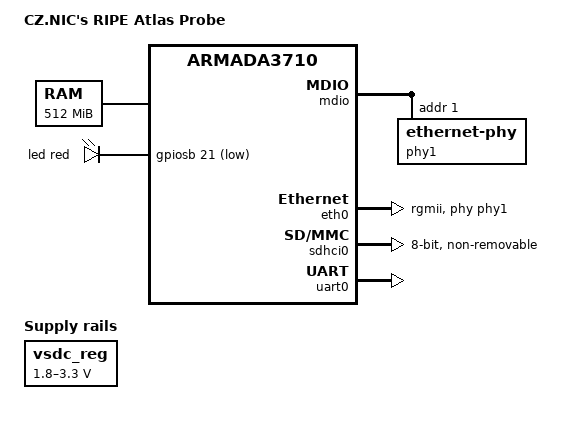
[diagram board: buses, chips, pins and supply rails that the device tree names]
// SPDX-License-Identifier: GPL-2.0+ or X11
/*
 * Device Tree file for CZ.NIC' RIPE Atlas Probe
 * 2021 by Marek Behún <marek.behun@nic.cz>
 */

/dts-v1/;

#include <dt-bindings/gpio/gpio.h>
#include <dt-bindings/leds/common.h>
#include "armada-372x.dtsi"

/ {
	model = "CZ.NIC's RIPE Atlas Probe";
	compatible = "cznic,ripe-atlas", "marvell,armada3720",
		     "marvell,armada3710";

	aliases {
		ethernet0 = &eth0;
		mmc0 = &sdhci0;
	};

	chosen {
		stdout-path = "serial0:115200n8";
	};

	memory {
		device_type = "memory";
		reg = <0x00000000 0x00000000 0x00000000 0x20000000>;
	};

	leds {
		compatible = "gpio-leds";

		led {
			gpios = <&gpiosb 21 GPIO_ACTIVE_LOW>;
			color = <LED_COLOR_ID_RED>;
			function = LED_FUNCTION_ACTIVITY;
		};
	};

	vsdc_reg: vsdc-reg {
		compatible = "regulator-gpio";
		regulator-name = "vsdc";
		regulator-min-microvolt = <1800000>;
		regulator-max-microvolt = <3300000>;
		regulator-boot-on;

		gpios = <&gpiosb 23 GPIO_ACTIVE_HIGH>;
		gpios-states = <0>;
		states = <1800000 0x1
			  3300000 0x0>;
		enable-active-high;
	};
};

&comphy {
	status = "disabled";
};

&mdio {
	pinctrl-names = "default";
	pinctrl-0 = <&smi_pins>;
	status = "okay";

	phy1: ethernet-phy@1 {
		reg = <1>;
	};
};

&eth0 {
	pinctrl-names = "default";
	pinctrl-0 = <&rgmii_pins>;
	phy-mode = "rgmii";
	phy-handle = <&phy1>;
	status = "okay";
};

&sdhci0 {
	bus-width = <8>;
	non-removable;
	vqmmc-supply = <&vsdc_reg>;
	marvell,pad-type = "sd";
	status = "okay";
};

&uart0 {
	pinctrl-names = "default";
	pinctrl-0 = <&uart1_pins>;
	status = "okay";
};
